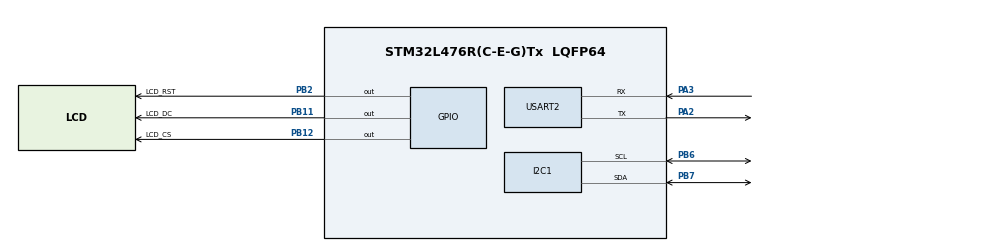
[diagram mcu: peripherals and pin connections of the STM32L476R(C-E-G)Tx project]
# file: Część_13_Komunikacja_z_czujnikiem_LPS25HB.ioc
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I2C1.Timing=0x00100D14
Mcu.Family=STM32L4
Mcu.Name=STM32L476R(C-E-G)Tx
Mcu.Package=LQFP64
NVIC.PriorityGroup=NVIC_PRIORITYGROUP_4
PA2.Mode=Asynchronous
PA2.Signal=USART2_TX
PA3.Mode=Asynchronous
PA3.Signal=USART2_RX
PB11.GPIO_Label=LCD_DC
PB11.Signal=GPIO_Output
PB12.GPIO_Label=LCD_CS
PB12.PinState=GPIO_PIN_SET
PB12.Signal=GPIO_Output
PB2.GPIO_Label=LCD_RST
PB2.Signal=GPIO_Output
PB6.Mode=I2C
PB6.Signal=I2C1_SCL
PB7.Mode=I2C
PB7.Signal=I2C1_SDA
ProjectManager.HeapSize=0x200
ProjectManager.StackSize=0x400
ProjectManager.TargetToolchain=STM32CubeIDE
RCC.HSE_VALUE=8000000
RCC.HSI_VALUE=16000000
RCC.LSE_VALUE=32768
RCC.MSI_VALUE=4000000
RCC.VCOOutputFreq_Value=32000000
USART2.VirtualMode-Asynchronous=VM_ASYNC
board=custom

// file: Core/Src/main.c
/* USER CODE BEGIN Header */
/**
  ******************************************************************************
  * @file           : main.c
  * @brief          : Main program body
  ******************************************************************************
  * @attention
  *
  * Copyright (c) 2026 STMicroelectronics.
  * All rights reserved.
  *
  * This software is licensed under terms that can be found in the LICENSE file
  * in the root directory of this software component.
  * If no LICENSE file comes with this software, it is provided AS-IS.
  *
  ******************************************************************************
  */
/* USER CODE END Header */
#include "main.h"
#include "i2c.h"
#include "usart.h"
#include "gpio.h"

/* USER CODE BEGIN Includes */
#include <stdio.h>
/* USER CODE END Includes */

/* USER CODE BEGIN PD */
#define LPS25HB_ADDR			0xBA
#define LPS25HB_WHO_AM_I 		0x0F
#define LPS25HB_CTRL_REG1 		0x20
#define LPS25HB_CTRL_REG2 		0x21
#define LPS25HB_CTRL_REG3 		0x22
#define LPS25HB_CTRL_REG4 		0x23
#define LPS25HB_PRESS_OUT_XL 	0x28
#define LPS25HB_PRESS_OUT_L 	0x29
#define LPS25HB_PRESS_OUT_H 	0x2A
#define LPS25HB_TEMP_OUT_L 		0x2B
#define LPS25HB_TEMP_OUT_H 		0x2C

/* USER CODE END PD */

void SystemClock_Config(void);

/* USER CODE BEGIN 0 */
int __io_putchar(int ch)
{
  if (ch == '\n') {
    __io_putchar('\r');
  }
  HAL_UART_Transmit(&huart2, (uint8_t*)&ch, 1, HAL_MAX_DELAY);
  return 1;
}
/* USER CODE END 0 */

int main(void)
{

  /* MCU Configuration--------------------------------------------------------*/

  /* Reset of all peripherals, Initializes the Flash interface and the Systick. */
  HAL_Init();

  /* Configure the system clock */
  SystemClock_Config();

  /* Initialize all configured peripherals */
  MX_GPIO_Init();
  MX_USART2_UART_Init();
  MX_I2C1_Init();
  /* USER CODE BEGIN 2 */
  uint8_t lps_read_reg(uint8_t reg)
  {
  	uint8_t value = 0;
  	HAL_I2C_Mem_Read(&hi2c1, LPS25HB_ADDR, reg, 1, &value, sizeof(value), HAL_MAX_DELAY);
  	return value;
  }
  /* USER CODE END 2 */

  /* Infinite loop */
  /* USER CODE BEGIN WHILE */
  printf("Searching...\n");
  uint8_t who_am_i = lps_read_reg(LPS25HB_WHO_AM_I);
  if (who_am_i == 0xBD) {
   printf("Found: LPS25HB\n");
  } else {
   printf("Error: (0x%02X)\n", who_am_i);
  }

  while (1)
  {
    /* USER CODE END WHILE */

  }
}

void SystemClock_Config(void)
{
  RCC_OscInitTypeDef RCC_OscInitStruct = {0};
  RCC_ClkInitTypeDef RCC_ClkInitStruct = {0};

  /** Configure the main internal regulator output voltage
  */
  if (HAL_PWREx_ControlVoltageScaling(PWR_REGULATOR_VOLTAGE_SCALE1) != HAL_OK)
  {
    Error_Handler();
  }

  /** Initializes the RCC Oscillators according to the specified parameters
  * in the RCC_OscInitTypeDef structure.
  */
  RCC_OscInitStruct.OscillatorType = RCC_OSCILLATORTYPE_MSI;
  RCC_OscInitStruct.MSIState = RCC_MSI_ON;
  RCC_OscInitStruct.MSICalibrationValue = 0;
  RCC_OscInitStruct.MSIClockRange = RCC_MSIRANGE_6;
  RCC_OscInitStruct.PLL.PLLState = RCC_PLL_NONE;
  if (HAL_RCC_OscConfig(&RCC_OscInitStruct) != HAL_OK)
  {
    Error_Handler();
  }

  /** Initializes the CPU, AHB and APB buses clocks
  */
  RCC_ClkInitStruct.ClockType = RCC_CLOCKTYPE_HCLK|RCC_CLOCKTYPE_SYSCLK
                              |RCC_CLOCKTYPE_PCLK1|RCC_CLOCKTYPE_PCLK2;
  RCC_ClkInitStruct.SYSCLKSource = RCC_SYSCLKSOURCE_MSI;
  RCC_ClkInitStruct.AHBCLKDivider = RCC_SYSCLK_DIV1;
  RCC_ClkInitStruct.APB1CLKDivider = RCC_HCLK_DIV1;
  RCC_ClkInitStruct.APB2CLKDivider = RCC_HCLK_DIV1;

  if (HAL_RCC_ClockConfig(&RCC_ClkInitStruct, FLASH_LATENCY_0) != HAL_OK)
  {
    Error_Handler();
  }
}

void Error_Handler(void)
{
  __disable_irq();
  while (1)
  {
  }
}
